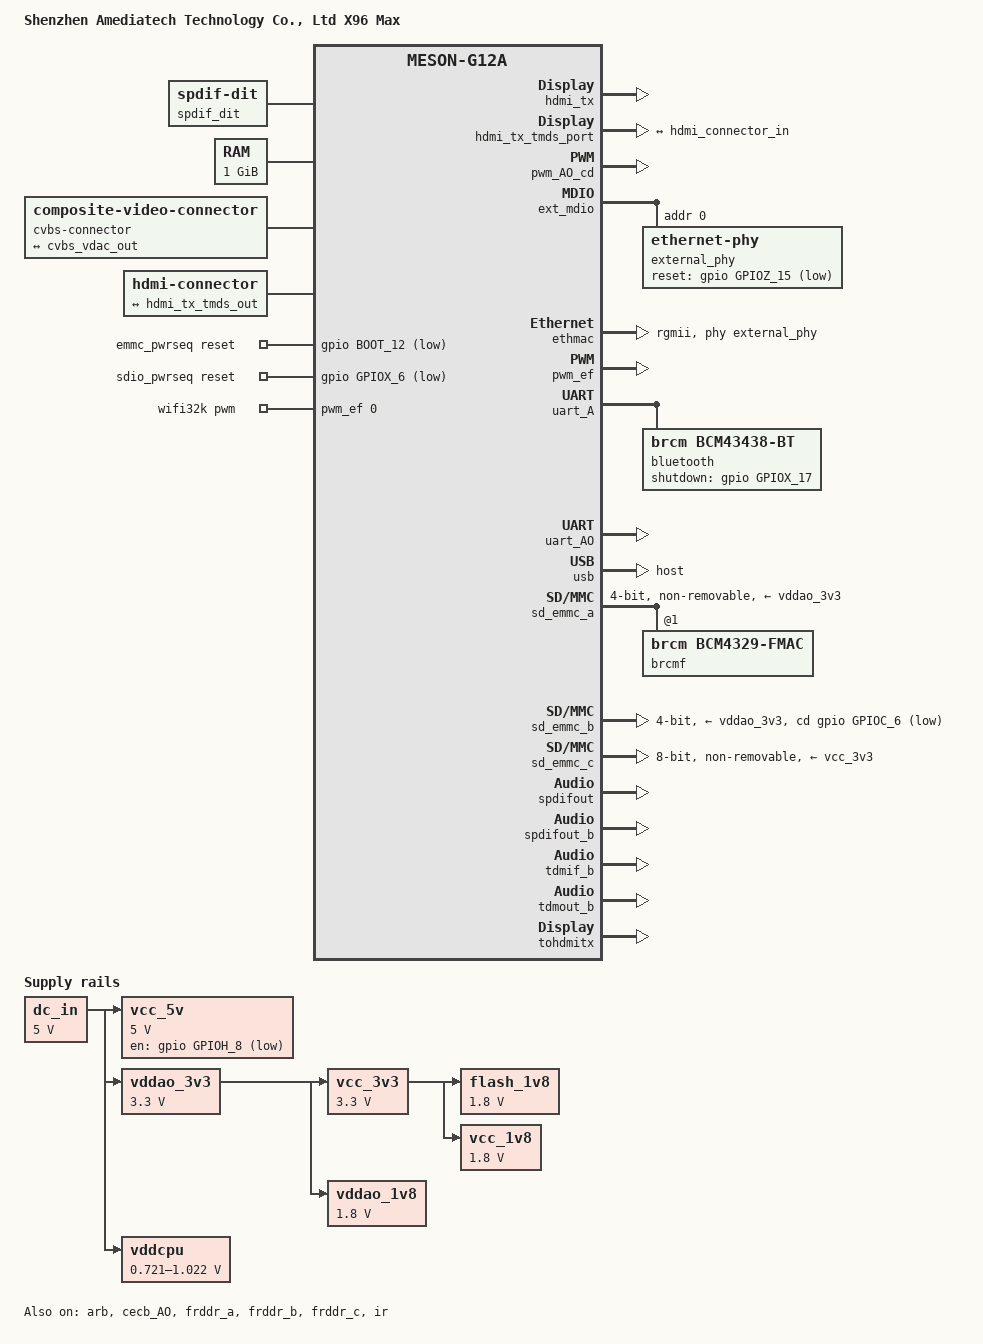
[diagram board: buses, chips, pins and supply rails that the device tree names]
// SPDX-License-Identifier: (GPL-2.0+ OR MIT)
/*
 * Copyright (c) 2018 BayLibre SAS. All rights reserved.
 */

/dts-v1/;

#include "meson-g12a.dtsi"
#include <dt-bindings/gpio/gpio.h>
#include <dt-bindings/gpio/meson-g12a-gpio.h>
#include <dt-bindings/sound/meson-g12a-tohdmitx.h>

/ {
	compatible = "amediatech,x96-max", "amlogic,g12a";
	model = "Shenzhen Amediatech Technology Co., Ltd X96 Max";

	aliases {
		serial0 = &uart_AO;
		ethernet0 = &ethmac;
	};

	spdif_dit: audio-codec-1 {
		#sound-dai-cells = <0>;
		compatible = "linux,spdif-dit";
		status = "okay";
		sound-name-prefix = "DIT";
	};

	chosen {
		stdout-path = "serial0:115200n8";
	};
	memory@0 {
		device_type = "memory";
		reg = <0x0 0x0 0x0 0x40000000>;
	};

	cvbs-connector {
		compatible = "composite-video-connector";

		port {
			cvbs_connector_in: endpoint {
				remote-endpoint = <&cvbs_vdac_out>;
			};
		};
	};

	hdmi-connector {
		compatible = "hdmi-connector";
		type = "a";

		port {
			hdmi_connector_in: endpoint {
				remote-endpoint = <&hdmi_tx_tmds_out>;
			};
		};
	};

	emmc_pwrseq: emmc-pwrseq {
		compatible = "mmc-pwrseq-emmc";
		reset-gpios = <&gpio BOOT_12 GPIO_ACTIVE_LOW>;
	};

	sdio_pwrseq: sdio-pwrseq {
		compatible = "mmc-pwrseq-simple";
		reset-gpios = <&gpio GPIOX_6 GPIO_ACTIVE_LOW>;
		clocks = <&wifi32k>;
		clock-names = "ext_clock";
	};

	flash_1v8: regulator-flash_1v8 {
		compatible = "regulator-fixed";
		regulator-name = "FLASH_1V8";
		regulator-min-microvolt = <1800000>;
		regulator-max-microvolt = <1800000>;
		vin-supply = <&vcc_3v3>;
		regulator-always-on;
	};

	dc_in: regulator-dc_in {
		compatible = "regulator-fixed";
		regulator-name = "DC_IN";
		regulator-min-microvolt = <5000000>;
		regulator-max-microvolt = <5000000>;
		regulator-always-on;
	};

	vcc_1v8: regulator-vcc_1v8 {
		compatible = "regulator-fixed";
		regulator-name = "VCC_1V8";
		regulator-min-microvolt = <1800000>;
		regulator-max-microvolt = <1800000>;
		vin-supply = <&vcc_3v3>;
		regulator-always-on;
	};

	vcc_3v3: regulator-vcc_3v3 {
		compatible = "regulator-fixed";
		regulator-name = "VCC_3V3";
		regulator-min-microvolt = <3300000>;
		regulator-max-microvolt = <3300000>;
		vin-supply = <&vddao_3v3>;
		regulator-always-on;
		/* FIXME: actually controlled by VDDCPU_B_EN */
	};

	vcc_5v: regulator-vcc_5v {
		compatible = "regulator-fixed";
		regulator-name = "VCC_5V";
		regulator-min-microvolt = <5000000>;
		regulator-max-microvolt = <5000000>;
		vin-supply = <&dc_in>;

		gpio = <&gpio GPIOH_8 GPIO_OPEN_DRAIN>;
	};

	vddao_1v8: regulator-vddao_1v8 {
		compatible = "regulator-fixed";
		regulator-name = "VDDAO_1V8";
		regulator-min-microvolt = <1800000>;
		regulator-max-microvolt = <1800000>;
		vin-supply = <&vddao_3v3>;
		regulator-always-on;
	};

	vddao_3v3: regulator-vddao_3v3 {
		compatible = "regulator-fixed";
		regulator-name = "VDDAO_3V3";
		regulator-min-microvolt = <3300000>;
		regulator-max-microvolt = <3300000>;
		vin-supply = <&dc_in>;
		regulator-always-on;
	};

	vddcpu: regulator-vddcpu {
		compatible = "pwm-regulator";

		regulator-name = "VDDCPU";
		regulator-min-microvolt = <721000>;
		regulator-max-microvolt = <1022000>;

		pwm-supply = <&dc_in>;

		pwms = <&pwm_AO_cd 1 1250 0>;
		pwm-dutycycle-range = <100 0>;

		regulator-boot-on;
		regulator-always-on;
	};

	sound {
		compatible = "amlogic,axg-sound-card";
		model = "X96-MAX";
		audio-aux-devs = <&tdmout_b>;
		audio-routing = "TDMOUT_B IN 0", "FRDDR_A OUT 1",
				"TDMOUT_B IN 1", "FRDDR_B OUT 1",
				"TDMOUT_B IN 2", "FRDDR_C OUT 1",
				"TDM_B Playback", "TDMOUT_B OUT",
				"SPDIFOUT IN 0", "FRDDR_A OUT 3",
				"SPDIFOUT IN 1", "FRDDR_B OUT 3",
				"SPDIFOUT IN 2", "FRDDR_C OUT 3";

		assigned-clocks = <&clkc CLKID_MPLL2>,
				  <&clkc CLKID_MPLL0>,
				  <&clkc CLKID_MPLL1>;
		assigned-clock-parents = <0>, <0>, <0>;
		assigned-clock-rates = <294912000>,
				       <270950400>,
				       <393216000>;

		dai-link-0 {
			sound-dai = <&frddr_a>;
		};

		dai-link-1 {
			sound-dai = <&frddr_b>;
		};

		dai-link-2 {
			sound-dai = <&frddr_c>;
		};

		/* 8ch hdmi interface */
		dai-link-3 {
			sound-dai = <&tdmif_b>;
			dai-format = "i2s";
			dai-tdm-slot-tx-mask-0 = <1 1>;
			dai-tdm-slot-tx-mask-1 = <1 1>;
			dai-tdm-slot-tx-mask-2 = <1 1>;
			dai-tdm-slot-tx-mask-3 = <1 1>;
			mclk-fs = <256>;

			codec {
				sound-dai = <&tohdmitx TOHDMITX_I2S_IN_B>;
			};
		};

		/* spdif hdmi or toslink interface */
		dai-link-4 {
			sound-dai = <&spdifout>;

			codec-0 {
				sound-dai = <&spdif_dit>;
			};

			codec-1 {
				sound-dai = <&tohdmitx TOHDMITX_SPDIF_IN_A>;
			};
		};

		/* spdif hdmi interface */
		dai-link-5 {
			sound-dai = <&spdifout_b>;

			codec {
				sound-dai = <&tohdmitx TOHDMITX_SPDIF_IN_B>;
			};
		};

		/* hdmi glue */
		dai-link-6 {
			sound-dai = <&tohdmitx TOHDMITX_I2S_OUT>;

			codec {
				sound-dai = <&hdmi_tx>;
			};
		};
	};

	wifi32k: wifi32k {
		compatible = "pwm-clock";
		#clock-cells = <0>;
		clock-frequency = <32768>;
		pwms = <&pwm_ef 0 30518 0>; /* PWM_E at 32.768KHz */
	};
};

&arb {
	status = "okay";
};

&cec_AO {
	pinctrl-0 = <&cec_ao_a_h_pins>;
	pinctrl-names = "default";
	status = "disabled";
	hdmi-phandle = <&hdmi_tx>;
};

&cecb_AO {
	pinctrl-0 = <&cec_ao_b_h_pins>;
	pinctrl-names = "default";
	status = "okay";
	hdmi-phandle = <&hdmi_tx>;
};

&clkc_audio {
	status = "okay";
};

&cpu0 {
	cpu-supply = <&vddcpu>;
	operating-points-v2 = <&cpu_opp_table>;
	clocks = <&clkc CLKID_CPU_CLK>;
	clock-latency = <50000>;
};

&cpu1 {
	cpu-supply = <&vddcpu>;
	operating-points-v2 = <&cpu_opp_table>;
	clocks = <&clkc CLKID_CPU_CLK>;
	clock-latency = <50000>;
};

&cpu2 {
	cpu-supply = <&vddcpu>;
	operating-points-v2 = <&cpu_opp_table>;
	clocks = <&clkc CLKID_CPU_CLK>;
	clock-latency = <50000>;
};

&cpu3 {
	cpu-supply = <&vddcpu>;
	operating-points-v2 = <&cpu_opp_table>;
	clocks = <&clkc CLKID_CPU_CLK>;
	clock-latency = <50000>;
};

&cvbs_vdac_port {
	cvbs_vdac_out: endpoint {
		remote-endpoint = <&cvbs_connector_in>;
	};
};

&frddr_a {
	status = "okay";
};

&frddr_b {
	status = "okay";
};

&frddr_c {
	status = "okay";
};

&hdmi_tx {
	status = "okay";
	pinctrl-0 = <&hdmitx_hpd_pins>, <&hdmitx_ddc_pins>;
	pinctrl-names = "default";
	hdmi-supply = <&vcc_5v>;
};

&hdmi_tx_tmds_port {
	hdmi_tx_tmds_out: endpoint {
		remote-endpoint = <&hdmi_connector_in>;
	};
};

&ir {
	status = "okay";
	pinctrl-0 = <&remote_input_ao_pins>;
	pinctrl-names = "default";
	linux,rc-map-name = "rc-x96max";
};

&pwm_AO_cd {
	pinctrl-0 = <&pwm_ao_d_e_pins>;
	pinctrl-names = "default";
	clocks = <&xtal>;
	clock-names = "clkin1";
	status = "okay";
};

&ext_mdio {
	external_phy: ethernet-phy@0 {
		/* Realtek RTL8211F (0x001cc916) */
		reg = <0>;
		max-speed = <1000>;
		eee-broken-1000t;

		reset-assert-us = <10000>;
		reset-deassert-us = <80000>;
		reset-gpios = <&gpio GPIOZ_15 (GPIO_ACTIVE_LOW | GPIO_OPEN_DRAIN)>;

		interrupt-parent = <&gpio_intc>;
		/* MAC_INTR on GPIOZ_14 */
		interrupts = <26 IRQ_TYPE_LEVEL_LOW>;
	};
};

&ethmac {
	pinctrl-0 = <&eth_pins>, <&eth_rgmii_pins>;
	pinctrl-names = "default";
	status = "okay";
	phy-mode = "rgmii";
	phy-handle = <&external_phy>;
	amlogic,tx-delay-ns = <2>;
};

&pwm_ef {
	status = "okay";
	pinctrl-0 = <&pwm_e_pins>;
	pinctrl-names = "default";
	clocks = <&xtal>;
	clock-names = "clkin0";
};

&uart_A {
	status = "okay";
	pinctrl-0 = <&uart_a_pins>, <&uart_a_cts_rts_pins>;
	pinctrl-names = "default";
	uart-has-rtscts;

	bluetooth {
		compatible = "brcm,bcm43438-bt";
		shutdown-gpios = <&gpio GPIOX_17 GPIO_ACTIVE_HIGH>;
		max-speed = <2000000>;
		clocks = <&wifi32k>;
		clock-names = "lpo";
	};
};

&uart_AO {
	status = "okay";
	pinctrl-0 = <&uart_ao_a_pins>;
	pinctrl-names = "default";
};

&usb {
	status = "okay";
	dr_mode = "host";
};

/* SDIO */
&sd_emmc_a {
	status = "okay";
	pinctrl-0 = <&sdio_pins>;
	pinctrl-1 = <&sdio_clk_gate_pins>;
	pinctrl-names = "default", "clk-gate";
	#address-cells = <1>;
	#size-cells = <0>;

	bus-width = <4>;
	cap-sd-highspeed;
	sd-uhs-sdr50;
	max-frequency = <100000000>;

	non-removable;
	disable-wp;

	/* WiFi firmware requires power to be kept while in suspend */
	keep-power-in-suspend;

	mmc-pwrseq = <&sdio_pwrseq>;

	vmmc-supply = <&vddao_3v3>;
	vqmmc-supply = <&vddao_1v8>;

	brcmf: wifi@1 {
		reg = <1>;
		compatible = "brcm,bcm4329-fmac";
	};
};

/* SD card */
&sd_emmc_b {
	status = "okay";
	pinctrl-0 = <&sdcard_c_pins>;
	pinctrl-1 = <&sdcard_clk_gate_c_pins>;
	pinctrl-names = "default", "clk-gate";

	bus-width = <4>;
	cap-sd-highspeed;
	max-frequency = <100000000>;
	disable-wp;

	cd-gpios = <&gpio GPIOC_6 GPIO_ACTIVE_LOW>;
	vmmc-supply = <&vddao_3v3>;
	vqmmc-supply = <&vddao_3v3>;
};

/* eMMC */
&sd_emmc_c {
	status = "okay";
	pinctrl-0 = <&emmc_ctrl_pins>, <&emmc_data_8b_pins>, <&emmc_ds_pins>;
	pinctrl-1 = <&emmc_clk_gate_pins>;
	pinctrl-names = "default", "clk-gate";

	bus-width = <8>;
	cap-mmc-highspeed;
	max-frequency = <100000000>;
	non-removable;
	disable-wp;

	mmc-pwrseq = <&emmc_pwrseq>;
	vmmc-supply = <&vcc_3v3>;
	vqmmc-supply = <&flash_1v8>;
};

&spdifout {
	pinctrl-0 = <&spdif_out_h_pins>;
	pinctrl-names = "default";
	status = "okay";
};

&spdifout_b {
	status = "okay";
};

&tdmif_b {
	status = "okay";
};

&tdmout_b {
	status = "okay";
};

&tohdmitx {
	status = "okay";
};
